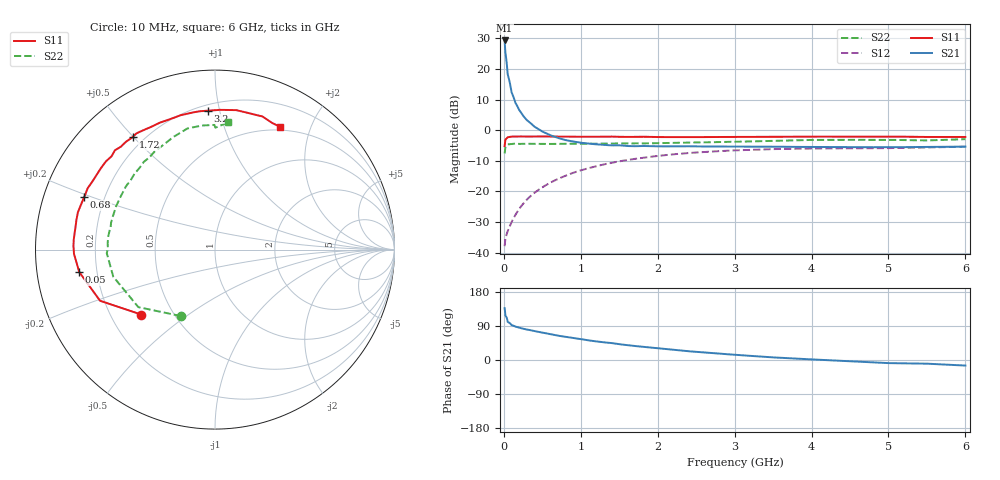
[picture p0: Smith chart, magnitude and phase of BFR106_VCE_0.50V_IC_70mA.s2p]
! Infineon Technologies  Discrete & RF Semiconductors
! BFR106
! VCE = 0.50 V,  IC =  70 mA
! Common Emitter S-Parameters:  Nov 2015
# GHz  S  MA  R  50
!  f  S11  S21  S12  S22
! GHz  MAG  ANG  MAG  ANG  MAG  ANG  MAG  ANG
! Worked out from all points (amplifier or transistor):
!   210 points, 10 MHz to 6 GHz, reference 50 ohm
!   highest |S21| = 29.3 dB at 10 MHz (marker M1)
!   |S21| within 3 dB of that: start of sweep to 17.74 MHz
!   unconditionally stable (mu >= 1): 44.92 MHz to end of sweep
!   at 185 MHz: K = 1.54, MAG = 12.5 dB, |S12| = -26.3 dB
!   at 1.52 GHz: K = 1.26, MAG = -0.5 dB, |S12| = -10.1 dB
!   at 6 GHz: K = 1.04, MAG = -1.1 dB, |S12| = -5.4 dB
!   S11 on the Smith chart (normalised r, x): 10 MHz: 0.33, -0.34; 50 MHz: 0.13, -0.08; 680 MHz: 0.12, +0.19; 1.72 GHz: 0.16, +0.50; 3.2 GHz: 0.24, +0.92; 6 GHz: 0.46, +1.56
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0.01  0.5473 -138.6  29.27 136.7  0.0127 49.3  0.4163 -117.2
0.02  0.7009 -156.0  18.6 117.6  0.0168 40.2  0.5339 -143.1
0.035  0.7278 -163.6  13.27 112.4  0.0195 41.4  0.5499 -154.6
0.05  0.7665 -170.6  8.193 100.5  0.0223 42.3  0.5865 -165.1
0.08  0.7766 -175.2  5.768 96.9  0.0276 49.8  0.5902 -171.0
0.1  0.786 -178.2  4.176 92.2  0.0313 53.3  0.5961 -174.8
0.15  0.789 178.5  2.81 88.1  0.0411 60.2  0.6034 -178.1
0.2  0.789 175.9  2.135 85.0  0.0518 64.1  0.5964 179.3
0.26  0.7871 173.2  1.666 82.1  0.0646 66.4  0.5992 176.7
0.3  0.7866 171.8  1.456 80.4  0.0735 67.1  0.5991 175.6
0.4  0.7897 167.9  1.136 76.0  0.095 67.8  0.5992 172.7
0.5  0.7916 164.7  0.95 72.2  0.1163 67.2  0.5974 170.0
0.68  0.7853 158.0  0.764 65.1  0.1546 64.9  0.5973 166.0
1.02  0.7805 146.8  0.619 54.5  0.2239 58.6  0.6 158.3
1.72  0.7774 126.1  0.548 36.6  0.3417 43.9  0.6084 142.9
2.02  0.7713 118.3  0.544 30.7  0.3815 37.6  0.6159 136.8
3.1  0.7749 94.7  0.538 12.3  0.4713 17.9  0.6503 116.4
3.2  0.7749 93.0  0.537 11.0  0.4756 16.4  0.6543 114.8
4.1  0.7849 80.1  0.531 0.6  0.5021 3.9  0.692 101.5
5.1  0.7844 69.5  0.527 -8.5  0.5113 -6.0  0.6919 90.2
5.5  0.7742 65.8  0.532 -9.7  0.523 -7.8  0.6793 89.8
6  0.7741 62.2  0.538 -14.7  0.536 -13.5  0.7129 84.1
